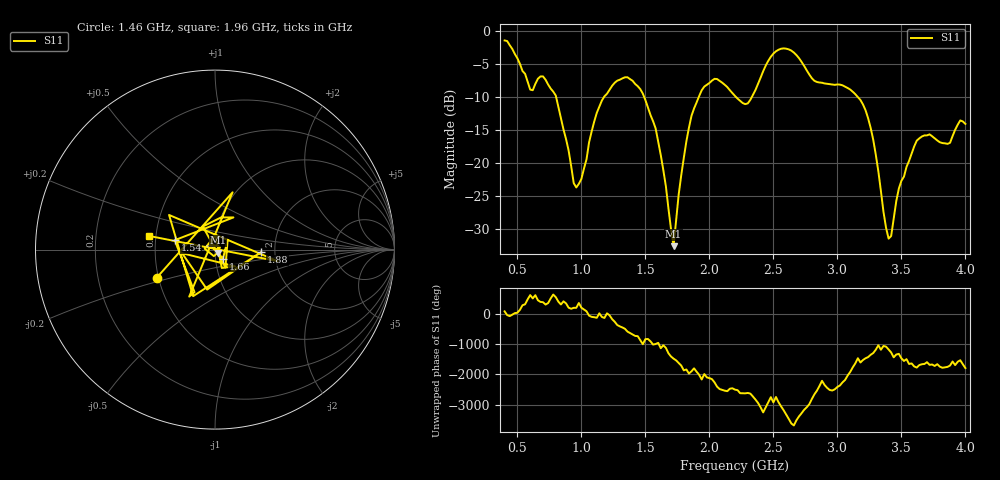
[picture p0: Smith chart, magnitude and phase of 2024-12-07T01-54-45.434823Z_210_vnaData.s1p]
!Created with skrf (http://scikit-rf.org).
# Hz S RI R 50.0
!freq ReS11 ImS11
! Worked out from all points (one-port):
!   181 points, 400 MHz to 4 GHz, reference 50 ohm
!   lowest |S11| = -32.6 dB at 1.72 GHz (marker M1), VSWR 1.05, Z = 51.7 - j1.68 ohm
!   |S11| at or under -10 dB: 802.2 MHz to 1.177 GHz (375.2 MHz wide, 37.9 % of centre); 1.49 GHz to 1.918 GHz (427.6 MHz wide, 25.1 % of centre); 3.158 GHz to end of sweep (the widest 3 of 4)
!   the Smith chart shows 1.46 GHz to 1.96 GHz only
!   S11 on the Smith chart (normalised r, x): 1.46 GHz: 0.49, -0.18; 1.54 GHz: 0.63, +0.07; 1.66 GHz: 1.09, -0.11; 1.88 GHz: 1.69, -0.05; 1.96 GHz: 0.46, +0.08
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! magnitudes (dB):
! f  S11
! 400 MHz  -1.5
! 600 MHz  -8.9
! 720 MHz  -7.4
! 800 MHz  -9.8
! 860 MHz  -14.9
! 960 MHz  -23.7
! 1.12 GHz  -12.4
! 1.3 GHz  -7.4
! 1.46 GHz  -8.8
! 1.54 GHz  -12.8
! 1.66 GHz  -23.5
! 1.72 GHz  -32.6
! 1.76 GHz  -24.8
! 1.88 GHz  -11.8
! 1.96 GHz  -8.5
! 2.06 GHz  -7.3
! 2.2 GHz  -9.9
! 2.3 GHz  -11.0
! 2.5 GHz  -3.5
! 2.66 GHz  -3.3
! 2.82 GHz  -7.6
! 3.1 GHz  -8.9
! 3.26 GHz  -14.7
! 3.4 GHz  -31.4
! 3.56 GHz  -19.7
! 3.66 GHz  -16.0
! 3.86 GHz  -17.1
! 4 GHz  -14.1
